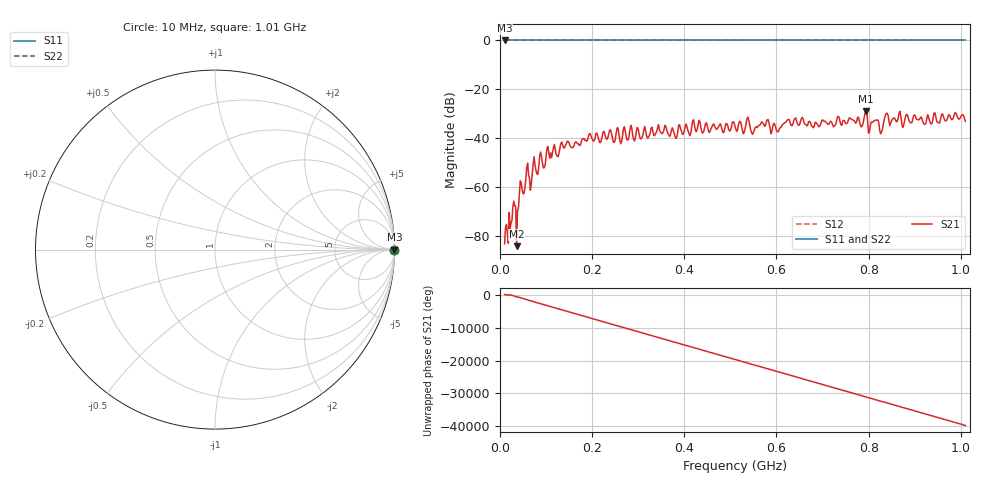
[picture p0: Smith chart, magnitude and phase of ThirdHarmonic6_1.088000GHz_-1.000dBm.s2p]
! 8/16/2025 10:05:10 AM
! C:\ANRITSUVNA\TEMP\TEMP.S2P
! CHANNEL.1
! TR.MEASUREMENT
! RAW.DATA
! RF.CORRECTION.OFF
! AVERAGING.OFF
! IF.BANDWIDTH: 5KHZ
! SWEEPTYPE:  FREQ.SWEEP(Linear)
! Reference Plane Port Info
! PORT:  PORT1  PORT2
! DISTANCE:  0  m  0  m
! TIME:  0  s  0  s
! PHASE.OFFSET:  0  deg.  0  deg.
! LOSS:  0  dB  0  dB
! REF.LOSS:  0  dB  0  dB
! REF.FREQ:  0  Hz  0  Hz
! Power Info
! POWER:  -20  dBm  -20  dBm
! EFF.POWER:  -20  dBm  -20  dBm
! SOURCE.ATTEN:  0  dB  0  dB
! TEST.ATTEN:  0  dB  0  dB
# GHZ S RI R 50.0
! FREQ.GHZ  S11RE  S11IM  S21RE  S21IM  S12RE  S12IM  S22RE  S22IM
!; PortSelection: Port_12
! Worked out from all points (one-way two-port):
!   501 points, 10 MHz to 1.01 GHz, reference 50 ohm
!   highest |S21| = -28.94 dB at 794 MHz (marker M1); lowest = -84.3 dB at 36 MHz (marker M2)
!   lowest |S11| = 0.0 dB at 10 MHz (marker M3)
!   |S11| at or under -10 dB: nowhere
!   |S22| runs from 0.0 to 0.0 dB; largest |S21 - S12| = 1
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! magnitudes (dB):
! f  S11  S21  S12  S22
! 10 MHz  0.0  -83.3  0.0  0.0
! 30 MHz  0.0  -65.8  0.0  0.0
! 36 MHz  0.0  -84.3  0.0  0.0
! 44 MHz  0.0  -57.5  0.0  0.0
! 52 MHz  0.0  -62.7  0.0  0.0
! 60 MHz  0.0  -50.2  0.0  0.0
! 66 MHz  0.0  -61.4  0.0  0.0
! 74 MHz  0.0  -47.6  0.0  0.0
! 96 MHz  0.0  -52.1  0.0  0.0
! 106 MHz  0.0  -46.1  0.0  0.0
! 178 MHz  0.0  -40.5  0.0  0.0
! 344 MHz  0.0  -34.4  0.0  0.0
! 510 MHz  0.0  -35.1  0.0  0.0
! 678 MHz  0.0  -35.3  0.0  0.0
! 784 MHz  0.0  -35.4  0.0  0.0
! 794 MHz  0.0  -28.9  0.0  0.0
! 802 MHz  0.0  -37.2  0.0  0.0
! 816 MHz  0.0  -32.6  0.0  0.0
! 828 MHz  0.0  -37.6  0.0  0.0
! 838 MHz  0.0  -30.0  0.0  0.0
! 844 MHz  0.0  -32.9  0.0  0.0
! 1.01 GHz  0.0  -33.1  0.0  0.0
